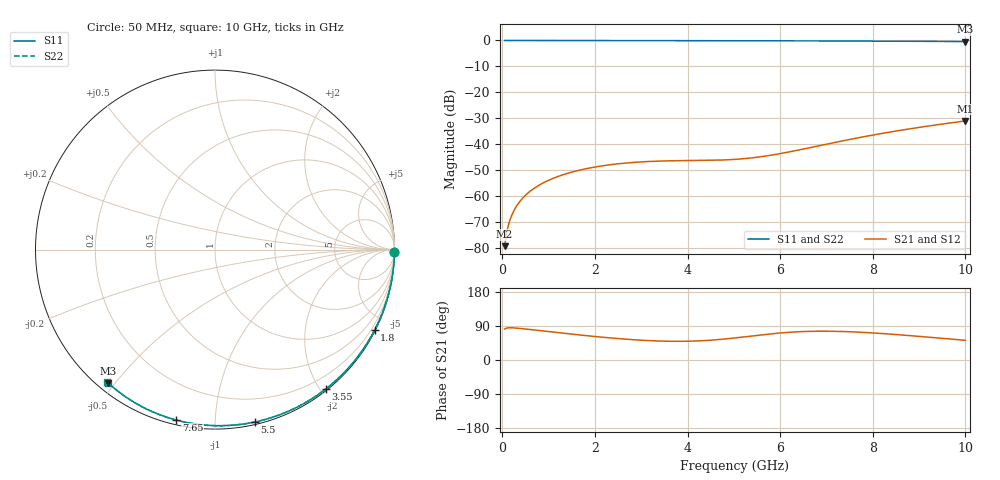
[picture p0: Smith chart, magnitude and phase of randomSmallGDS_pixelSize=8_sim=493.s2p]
! freq	dB(S11)	phase(S11)	dB(S12)	phase(S12)
!  dB(S21)	phase(S21)	dB(S22)	phase(S22)
!S-par simulation data
#  GHz  S  DB  R 50
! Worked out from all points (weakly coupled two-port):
!   200 points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, 50 MHz to 10 GHz, reference 50 ohm
!   highest |S21| = -31.03 dB at 10 GHz (marker M1); lowest = -79.3 dB at 50 MHz (marker M2)
!   lowest |S11| = -0.4 dB at 10 GHz (marker M3), VSWR 40.62, Z = 1.51 - j24 ohm
!   |S11| at or under -10 dB: nowhere
!   |S22| runs from -0.4 to 0.0 dB; largest |S21 - S12| = 0
!   S11 on the Smith chart (normalised r, x): 50 MHz: open; 1.8 GHz: 0.04, -4.21; 3.55 GHz: 0.02, -2.08; 5.5 GHz: 0.02, -1.26; 7.65 GHz: 0.02, -0.80; 10 GHz: 0.03, -0.48
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0.05  -0.00 -0.8  -79.30 81.7  -79.30 81.7  -0.00 -0.8
0.1  -0.00 -1.5  -73.52 84.5  -73.52 84.5  -0.00 -1.5
0.15  -0.00 -2.3  -70.05 85.1  -70.05 85.1  -0.00 -2.3
0.2  -0.00 -3.0  -67.57 85.0  -67.57 85.0  -0.00 -3.0
0.25  -0.00 -3.8  -65.65 84.7  -65.65 84.7  -0.00 -3.8
0.35  -0.00 -5.3  -62.75 83.7  -62.75 83.7  -0.00 -5.3
0.5  -0.01 -7.5  -59.69 81.8  -59.69 81.8  -0.01 -7.6
0.7  -0.01 -10.5  -56.85 79.2  -56.85 79.2  -0.01 -10.6
1  -0.02 -15.0  -53.90 75.0  -53.90 75.0  -0.02 -15.0
1.35  -0.03 -20.1  -51.54 70.3  -51.54 70.3  -0.03 -20.2
1.75  -0.03 -26.0  -49.67 65.1  -49.67 65.1  -0.03 -26.1
1.8  -0.03 -26.7  -49.48 64.4  -49.48 64.4  -0.03 -26.8
2.5  -0.05 -36.8  -47.55 56.5  -47.55 56.5  -0.05 -36.9
3.4  -0.07 -49.4  -46.50 50.1  -46.50 50.1  -0.07 -49.6
3.55  -0.07 -51.5  -46.42 49.6  -46.42 49.6  -0.07 -51.6
4.3  -0.09 -61.6  -46.26 50.8  -46.26 50.8  -0.09 -61.8
5.05  -0.11 -71.4  -45.81 58.6  -45.81 58.6  -0.11 -71.6
5.5  -0.12 -77.1  -45.02 65.0  -45.02 65.0  -0.12 -77.3
6.7  -0.18 -91.7  -41.11 75.8  -41.11 75.8  -0.18 -92.1
7.65  -0.23 -102.8  -37.64 73.8  -37.64 73.8  -0.23 -103.2
8.35  -0.28 -110.7  -35.37 68.6  -35.37 68.6  -0.28 -111.1
10  -0.43 -128.8  -31.03 51.9  -31.03 51.9  -0.43 -129.2
